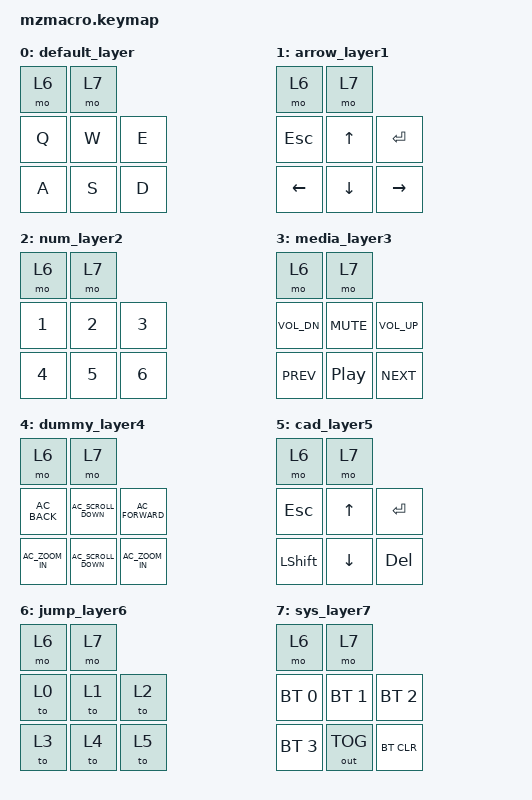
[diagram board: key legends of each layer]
#include <behaviors.dtsi>
#include <dt-bindings/zmk/keys.h>
#include <dt-bindings/zmk/bt.h>
#include <dt-bindings/zmk/outputs.h>

/ {
    keymap {
        compatible = "zmk,keymap";

        default_layer {
            bindings = <
            &mo 6    &mo 7
            &kp Q   &kp W   &kp E
            &kp A   &kp S   &kp D
            >;
        };

        arrow_layer1 {
            bindings = <
            &mo 6    &mo 7
            &kp ESC   &kp UP   &kp ENTER 
            &kp LEFT   &kp DOWN   &kp RIGHT
            >;
        };

        num_layer2 {
            bindings = <
            &mo 6    &mo 7
            &kp N1   &kp N2   &kp N3 
            &kp N4   &kp N5   &kp N6
            >;
        };

        media_layer3 {
            bindings = <
            &mo 6    &mo 7
            &kp C_VOL_DN   &kp C_MUTE   &kp C_VOL_UP 
            &kp C_PREV   &kp C_PLAY_PAUSE   &kp C_NEXT 
            >;
        };

        dummy_layer4 {
            bindings = <
            &mo 6    &mo 7
            &kp C_AC_BACK   &kp C_AC_SCROLL_DOWN   &kp C_AC_FORWARD 
            &kp C_AC_ZOOM_IN   &kp C_AC_SCROLL_DOWN   &kp C_AC_ZOOM_IN 
            >;
        };

        cad_layer5 {
            bindings = <
            &mo 6    &mo 7
            &kp ESC   &kp UP   &kp ENTER 
            &kp LSHIFT   &kp DOWN   &kp DELETE
            >;
        };

        jump_layer6 {
            bindings = <
            &mo 6    &mo 7
            &to 0   &to 1   &to 2
            &to 3   &to 4   &to 5
            >;
        };

        sys_layer7 {
            bindings = <
            &mo 6    &mo 7
            &bt BT_SEL 0   &bt BT_SEL 1   &bt BT_SEL 2
            &bt BT_SEL 3   &out OUT_TOG   &bt BT_CLR
            >;
        };

    };
};
